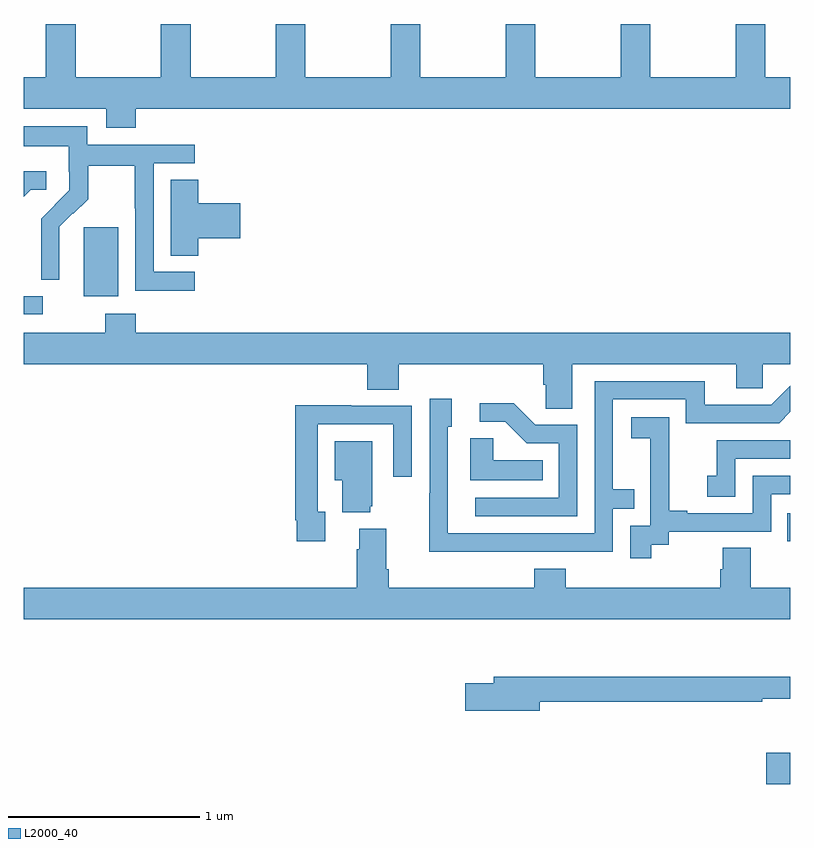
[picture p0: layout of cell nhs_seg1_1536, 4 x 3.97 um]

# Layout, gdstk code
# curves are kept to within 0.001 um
import gdstk
lib = gdstk.Library(unit=1e-6, precision=1e-09)
def R(c, l, rs):  # rectangles x0, y0, x1, y1
    for r in rs: c.add(gdstk.rectangle(r[:2], r[2:], *l))
def P(c, l, *ps):  # polygons
    for p in ps: c.add(gdstk.Polygon(p, *l))
L2000_40 = (2000, 40)

nhs_seg1_1536 = lib.new_cell('nhs_seg1_1536')
R(nhs_seg1_1536, L2000_40, [(198.876,524.232,199,524.395), (198.985,525.498,199,525.645), (195,526.683,195.1,526.779), (195.314,526.778,195.493,527.139)])
P(nhs_seg1_1536, L2000_40, [(199,527.92),(198.87,527.92),(198.87,528.199),(198.715,528.199),(198.715,527.92),(198.27,527.92),(198.27,528.199),(198.115,528.199),(198.115,527.92),(197.67,527.92),(197.67,528.199),(197.515,528.199),(197.515,527.92),(197.07,527.92),(197.07,528.199),(196.915,528.199),(196.915,527.92),(196.47,527.92),(196.47,528.199),(196.315,528.199),(196.315,527.92),(195.87,527.92),(195.87,528.199),(195.715,528.199),(195.715,527.92),(195.27,527.92),(195.27,528.199),(195.115,528.199),(195.115,527.92),(195,527.92),(195,527.756),(195.431,527.756),(195.431,527.657),(195.584,527.657),(195.584,527.756),(199,527.756)],
  [(195.892,526.905),(195.678,526.905),(195.678,527.472),(195.892,527.472),(195.892,527.568),(195.33,527.568),(195.33,527.665),(195,527.665),(195,527.561),(195.234,527.561),(195.234,527.427),(195.236,527.427),(195.236,527.33),(195.09,527.182),(195.09,526.864),(195.186,526.864),(195.185,527.141),(195.255,527.211),(195.258,527.208),(195.335,527.285),(195.335,527.46),(195.58,527.46),(195.58,527.236),(195.582,527.236),(195.582,526.807),(195.892,526.807)],
  [(195.036,527.334),(195.118,527.334),(195.118,527.431),(195,527.431),(195,527.298)],
  [(195.911,527.081),(196.129,527.081),(196.129,527.264),(195.911,527.264),(195.911,527.387),(195.767,527.387),(195.767,526.99),(195.911,526.99)],
  [(197.863,526.424),(198.719,526.424),(198.719,526.297),(198.858,526.297),(198.858,526.424),(199,526.424),(199,526.588),(195.584,526.588),(195.584,526.687),(195.424,526.687),(195.424,526.588),(195,526.588),(195,526.424),(196.793,526.424),(196.793,526.291),(196.958,526.291),(196.958,526.424),(197.711,526.424),(197.711,526.315),(197.724,526.315),(197.724,526.192),(197.863,526.192)],
  [(197.579,525.444),(198.075,525.444),(198.075,525.669),(198.185,525.669),(198.185,525.77),(198.075,525.77),(198.075,526.239),(198.456,526.239),(198.456,526.116),(198.942,526.116),(199,526.174),(199,526.312),(198.9,526.212),(198.553,526.212),(198.553,526.335),(197.979,526.335),(197.979,525.54),(197.214,525.54),(197.214,526.098),(197.233,526.098),(197.233,526.243),(197.118,526.243),(197.118,525.749),(197.116,525.749),(197.116,525.443)],
  [(197.889,526.107),(197.67,526.107),(197.557,526.22),(197.379,526.22),(197.379,526.122),(197.513,526.122),(197.624,526.011),(197.793,526.011),(197.793,525.726),(197.355,525.726),(197.355,525.63),(197.889,525.63)],
  [(196.573,525.654),(196.533,525.654),(196.533,526.11),(196.929,526.11),(196.929,525.837),(197.025,525.837),(197.025,526.206),(196.709,526.206),(196.709,526.208),(196.417,526.208),(196.417,525.61),(196.425,525.61),(196.425,525.498),(196.573,525.498)],
  [(198.274,525.481),(198.366,525.481),(198.366,525.549),(198.9,525.549),(198.9,525.744),(199,525.744),(199,525.84),(198.804,525.84),(198.804,525.645),(198.463,525.645),(198.463,525.658),(198.368,525.658),(198.368,525.941),(198.369,525.941),(198.369,526.147),(198.171,526.147),(198.171,526.037),(198.269,526.037),(198.269,525.809),(198.27,525.809),(198.27,525.579),(198.165,525.579),(198.165,525.411),(198.274,525.411)],
  [(197.708,525.922),(197.451,525.922),(197.451,526.037),(197.33,526.037),(197.33,525.818),(197.708,525.818)],
  [(198.714,525.93),(199,525.93),(199,526.026),(198.616,526.026),(198.616,525.841),(198.567,525.841),(198.567,525.732),(198.714,525.732)],
  [(196.808,525.681),(196.819,525.681),(196.819,526.021),(196.622,526.021),(196.622,525.818),(196.661,525.818),(196.661,525.65),(196.808,525.65)],
  [(199,525.256),(198.795,525.256),(198.795,525.464),(198.647,525.464),(198.647,525.354),(198.635,525.354),(198.635,525.256),(197.828,525.256),(197.828,525.355),(197.663,525.355),(197.663,525.256),(196.904,525.256),(196.904,525.352),(196.891,525.352),(196.891,525.565),(196.751,525.565),(196.751,525.458),(196.739,525.458),(196.739,525.256),(195,525.256),(195,525.092),(199,525.092)],
  [(197.692,524.662),(198.855,524.662),(198.855,524.677),(199,524.677),(199,524.791),(197.453,524.791),(197.453,524.757),(197.304,524.757),(197.304,524.615),(197.692,524.615)])

lib.write_gds('nhs_seg1_1536.gds')
